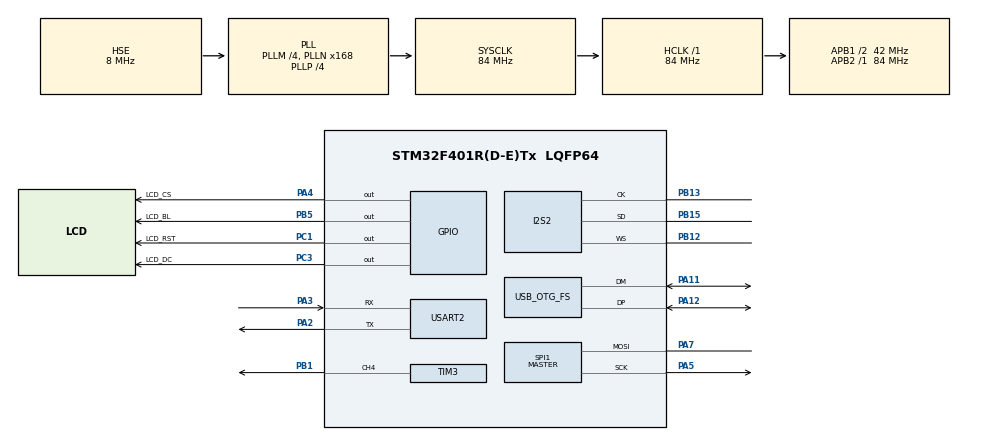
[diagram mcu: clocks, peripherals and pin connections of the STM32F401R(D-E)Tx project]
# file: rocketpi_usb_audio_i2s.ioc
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Dma.Request0=SPI1_TX
Dma.Request1=SPI2_TX
Dma.Request2=TIM3_CH4/UP
Dma.SPI1_TX.0.Direction=DMA_MEMORY_TO_PERIPH
Dma.SPI1_TX.0.FIFOMode=DMA_FIFOMODE_DISABLE
Dma.SPI1_TX.0.Instance=DMA2_Stream3
Dma.SPI1_TX.0.MemDataAlignment=DMA_MDATAALIGN_BYTE
Dma.SPI1_TX.0.MemInc=DMA_MINC_ENABLE
Dma.SPI1_TX.0.Mode=DMA_NORMAL
Dma.SPI1_TX.0.PeriphDataAlignment=DMA_PDATAALIGN_BYTE
Dma.SPI1_TX.0.PeriphInc=DMA_PINC_DISABLE
Dma.SPI1_TX.0.Priority=DMA_PRIORITY_LOW
Dma.SPI2_TX.1.Direction=DMA_MEMORY_TO_PERIPH
Dma.SPI2_TX.1.FIFOMode=DMA_FIFOMODE_DISABLE
Dma.SPI2_TX.1.Instance=DMA1_Stream4
Dma.SPI2_TX.1.MemDataAlignment=DMA_MDATAALIGN_HALFWORD
Dma.SPI2_TX.1.MemInc=DMA_MINC_ENABLE
Dma.SPI2_TX.1.Mode=DMA_CIRCULAR
Dma.SPI2_TX.1.PeriphDataAlignment=DMA_PDATAALIGN_HALFWORD
Dma.SPI2_TX.1.PeriphInc=DMA_PINC_DISABLE
Dma.SPI2_TX.1.Priority=DMA_PRIORITY_VERY_HIGH
Dma.TIM3_CH4/UP.2.Direction=DMA_MEMORY_TO_PERIPH
Dma.TIM3_CH4/UP.2.FIFOMode=DMA_FIFOMODE_DISABLE
Dma.TIM3_CH4/UP.2.Instance=DMA1_Stream2
Dma.TIM3_CH4/UP.2.MemDataAlignment=DMA_MDATAALIGN_HALFWORD
Dma.TIM3_CH4/UP.2.MemInc=DMA_MINC_ENABLE
Dma.TIM3_CH4/UP.2.Mode=DMA_NORMAL
Dma.TIM3_CH4/UP.2.PeriphDataAlignment=DMA_PDATAALIGN_HALFWORD
Dma.TIM3_CH4/UP.2.PeriphInc=DMA_PINC_DISABLE
Dma.TIM3_CH4/UP.2.Priority=DMA_PRIORITY_VERY_HIGH
I2S2.AudioFreq=I2S_AUDIOFREQ_16K
I2S2.DataFormat=I2S_DATAFORMAT_16B_EXTENDED
I2S2.ErrorAudioFreq=0.0 %
I2S2.FullDuplexMode=I2S_FULLDUPLEXMODE_DISABLE
I2S2.Instance=SPI$Index
I2S2.Mode=I2S_MODE_MASTER_TX
I2S2.RealAudioFreq=16.0 KHz
I2S2.VirtualMode=I2S_MODE_MASTER
Mcu.Family=STM32F4
Mcu.Name=STM32F401R(D-E)Tx
Mcu.Package=LQFP64
NVIC.DMA1_Stream2_IRQn=true\:0\:0\:false\:false\:true\:false\:true\:true
NVIC.DMA1_Stream4_IRQn=true\:0\:0\:false\:false\:true\:false\:true\:true
NVIC.DMA2_Stream3_IRQn=true\:0\:0\:false\:false\:true\:false\:true\:true
NVIC.OTG_FS_IRQn=true\:0\:0\:false\:false\:true\:true\:true\:true
NVIC.PriorityGroup=NVIC_PRIORITYGROUP_4
NVIC.SPI1_IRQn=true\:0\:0\:false\:false\:true\:true\:true\:true
NVIC.SPI2_IRQn=true\:0\:0\:false\:false\:true\:true\:true\:true
PA11.Mode=Device_Only
PA11.Signal=USB_OTG_FS_DM
PA12.Mode=Device_Only
PA12.Signal=USB_OTG_FS_DP
PA13.Mode=Serial_Wire
PA13.Signal=SYS_JTMS-SWDIO
PA14.Mode=Serial_Wire
PA14.Signal=SYS_JTCK-SWCLK
PA2.Mode=Asynchronous
PA2.Signal=USART2_TX
PA3.Mode=Asynchronous
PA3.Signal=USART2_RX
PA4.GPIO_Label=LCD_CS
PA4.Signal=GPIO_Output
PA5.Mode=Simplex_Bidirectional_Master
PA5.Signal=SPI1_SCK
PA7.Mode=Simplex_Bidirectional_Master
PA7.Signal=SPI1_MOSI
PB1.Signal=S_TIM3_CH4
PB12.GPIO_Speed=GPIO_SPEED_FREQ_VERY_HIGH
PB12.Mode=Half_Duplex_Master
PB12.Signal=I2S2_WS
PB13.GPIO_Speed=GPIO_SPEED_FREQ_VERY_HIGH
PB13.Mode=Half_Duplex_Master
PB13.Signal=I2S2_CK
PB15.GPIO_Speed=GPIO_SPEED_FREQ_VERY_HIGH
PB15.Mode=Half_Duplex_Master
PB15.Signal=I2S2_SD
PB5.GPIO_Label=LCD_BL
PB5.Signal=GPIO_Output
PC1.GPIO_Label=LCD_RST
PC1.Signal=GPIO_Output
PC3.GPIO_Label=LCD_DC
PC3.Signal=GPIO_Output
PH0\ -\ OSC_IN.Mode=HSE-External-Oscillator
PH0\ -\ OSC_IN.Signal=RCC_OSC_IN
PH1\ -\ OSC_OUT.Mode=HSE-External-Oscillator
PH1\ -\ OSC_OUT.Signal=RCC_OSC_OUT
ProjectManager.HeapSize=0x1000
ProjectManager.StackSize=0x1000
ProjectManager.TargetToolchain=MDK-ARM V5.27
RCC.48MHZClocksFreq_Value=48000000
RCC.AHBFreq_Value=84000000
RCC.APB1CLKDivider=RCC_HCLK_DIV2
RCC.APB1Freq_Value=42000000
RCC.APB1TimFreq_Value=84000000
RCC.APB2Freq_Value=84000000
RCC.APB2TimFreq_Value=84000000
RCC.CortexFreq_Value=84000000
RCC.HCLKFreq_Value=84000000
RCC.HSE_VALUE=8000000
RCC.HSI_VALUE=16000000
RCC.LSE_VALUE=32768
RCC.PLLI2SN=128
RCC.PLLI2SR=5
RCC.PLLM=4
RCC.PLLN=168
RCC.PLLP=RCC_PLLP_DIV4
RCC.PLLQ=7
RCC.SYSCLKFreq_VALUE=84000000
RCC.SYSCLKSource=RCC_SYSCLKSOURCE_PLLCLK
RCC.VCOOutputFreq_Value=336000000
SH.S_TIM3_CH4.0=TIM3_CH4,PWM Generation4 CH4
SPI1.Direction=SPI_DIRECTION_1LINE
SPI1.Mode=SPI_MODE_MASTER
SPI1.VirtualType=VM_MASTER
TIM3.Channel-PWM\ Generation4\ CH4=TIM_CHANNEL_4
TIM3.Period=105-1
USART2.VirtualMode=VM_ASYNC
USB_DEVICE.CLASS_NAME_FS=AUDIO
USB_DEVICE.USBD_AUDIO_FREQ-AUDIO_FS=16000
USB_DEVICE.VirtualMode-AUDIO_FS=Audio
USB_DEVICE.VirtualModeFS=Audio_FS
USB_OTG_FS.VirtualMode=Device_Only
VP_USB_DEVICE_VS_USB_DEVICE_AUDIO_FS.Mode=AUDIO_FS
board=custom

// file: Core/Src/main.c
/* USER CODE BEGIN Header */
/**
  ******************************************************************************
  * @file           : main.c
  * @brief          : Main program body
  ******************************************************************************
  * @attention
  *
  * Copyright (c) 2025 STMicroelectronics.
  * All rights reserved.
  *
  * This software is licensed under terms that can be found in the LICENSE file
  * in the root directory of this software component.
  * If no LICENSE file comes with this software, it is provided AS-IS.
  *
  ******************************************************************************
  */
/* USER CODE END Header */
#include "main.h"
#include "dma.h"
#include "i2s.h"
#include "spi.h"
#include "tim.h"
#include "usart.h"
#include "usb_device.h"
#include "gpio.h"

/* USER CODE BEGIN Includes */
#include "st7789.h"
#include "spectrum.h"
#include "usbd_audio.h"
#include "driver_ws2812b.h"
/* USER CODE END Includes */

/* USER CODE BEGIN PD */
#define WS2812_LED_COUNT           30U
#define WS2812_UPDATE_INTERVAL_MS  20U

#define WS2812_VIS_MODE_SPECTRUM_BAR      0U
#define WS2812_VIS_MODE_ENERGY_SWEEP      1U
#define WS2812_VIS_MODE_RAINBOW_GLOW      2U

#ifndef WS2812_VISUAL_MODE
#define WS2812_VISUAL_MODE WS2812_VIS_MODE_SPECTRUM_BAR
#endif
/* USER CODE END PD */

/* USER CODE BEGIN PV */
static uint8_t ws2812_ready = 0U;
static uint32_t ws2812_last_update_ms = 0U;
/* USER CODE END PV */

void SystemClock_Config(void);
/* USER CODE BEGIN PFP */
static void Visualizer_UpdateStrip(void);
static void Visualizer_ModeSpectrumBar(uint32_t leds, uint32_t bins, uint16_t max_height);
static void Visualizer_ModeEnergySweep(uint32_t leds, uint32_t bins, uint16_t max_height);
static void Visualizer_ModeRainbowGlow(uint32_t leds, uint32_t bins, uint16_t max_height);
static void Visualizer_Color565ToRGB(uint16_t color565, uint8_t *r, uint8_t *g, uint8_t *b);
static void Visualizer_ColorWheel(uint32_t pos, uint32_t total, uint8_t *r, uint8_t *g, uint8_t *b);
/* USER CODE END PFP */

int main(void)
{

  /* MCU Configuration--------------------------------------------------------*/

  /* Reset of all peripherals, Initializes the Flash interface and the Systick. */
  HAL_Init();

  /* Configure the system clock */
  SystemClock_Config();

  /* Initialize all configured peripherals */
  MX_GPIO_Init();
  MX_DMA_Init();
  MX_I2S2_Init();
  MX_USB_DEVICE_Init();
  MX_SPI1_Init();
  MX_USART2_UART_Init();
  MX_TIM3_Init();
  /* USER CODE BEGIN 2 */
  ST7789_Init();
  Spectrum_Init(USBD_AUDIO_FREQ);
  if (ws2812b_init(WS2812_LED_COUNT))
  {
    ws2812_ready = 1U;
    ws2812b_fill(0U, 0U, 0U);
    (void)ws2812b_refresh();
  }
  /* USER CODE END 2 */

  /* Infinite loop */
  while (1)
  {

    /* USER CODE BEGIN 3 */
    Spectrum_DrawIfDue();
    Visualizer_UpdateStrip();
  }
  /* USER CODE END 3 */
}

void SystemClock_Config(void)
{
  RCC_OscInitTypeDef RCC_OscInitStruct = {0};
  RCC_ClkInitTypeDef RCC_ClkInitStruct = {0};

  /** Configure the main internal regulator output voltage
  */
  __HAL_RCC_PWR_CLK_ENABLE();
  __HAL_PWR_VOLTAGESCALING_CONFIG(PWR_REGULATOR_VOLTAGE_SCALE2);

  /** Initializes the RCC Oscillators according to the specified parameters
  * in the RCC_OscInitTypeDef structure.
  */
  RCC_OscInitStruct.OscillatorType = RCC_OSCILLATORTYPE_HSE;
  RCC_OscInitStruct.HSEState = RCC_HSE_ON;
  RCC_OscInitStruct.PLL.PLLState = RCC_PLL_ON;
  RCC_OscInitStruct.PLL.PLLSource = RCC_PLLSOURCE_HSE;
  RCC_OscInitStruct.PLL.PLLM = 4;
  RCC_OscInitStruct.PLL.PLLN = 168;
  RCC_OscInitStruct.PLL.PLLP = RCC_PLLP_DIV4;
  RCC_OscInitStruct.PLL.PLLQ = 7;
  if (HAL_RCC_OscConfig(&RCC_OscInitStruct) != HAL_OK)
  {
    Error_Handler();
  }

  /** Initializes the CPU, AHB and APB buses clocks
  */
  RCC_ClkInitStruct.ClockType = RCC_CLOCKTYPE_HCLK|RCC_CLOCKTYPE_SYSCLK
                              |RCC_CLOCKTYPE_PCLK1|RCC_CLOCKTYPE_PCLK2;
  RCC_ClkInitStruct.SYSCLKSource = RCC_SYSCLKSOURCE_PLLCLK;
  RCC_ClkInitStruct.AHBCLKDivider = RCC_SYSCLK_DIV1;
  RCC_ClkInitStruct.APB1CLKDivider = RCC_HCLK_DIV2;
  RCC_ClkInitStruct.APB2CLKDivider = RCC_HCLK_DIV1;

  if (HAL_RCC_ClockConfig(&RCC_ClkInitStruct, FLASH_LATENCY_2) != HAL_OK)
  {
    Error_Handler();
  }
}

/* USER CODE BEGIN 4 */
static void Visualizer_UpdateStrip(void)
{
  if ((ws2812_ready == 0U) || ws2812b_is_busy())
  {
    return;
  }

  uint32_t now = HAL_GetTick();
  if ((now - ws2812_last_update_ms) < WS2812_UPDATE_INTERVAL_MS)
  {
    return;
  }
  ws2812_last_update_ms = now;

  uint32_t leds = ws2812b_get_led_count();
  uint32_t bins = Spectrum_GetBinCount();
  if ((leds == 0U) || (bins == 0U))
  {
    return;
  }

  uint16_t max_height = Spectrum_GetMaxHeight();
  if (max_height == 0U)
  {
    max_height = 1U;
  }

  switch (WS2812_VISUAL_MODE)
  {
    case WS2812_VIS_MODE_SPECTRUM_BAR:
      Visualizer_ModeSpectrumBar(leds, bins, max_height);
      break;
    case WS2812_VIS_MODE_ENERGY_SWEEP:
      Visualizer_ModeEnergySweep(leds, bins, max_height);
      break;
    case WS2812_VIS_MODE_RAINBOW_GLOW:
      Visualizer_ModeRainbowGlow(leds, bins, max_height);
      break;
    default:
      Visualizer_ModeSpectrumBar(leds, bins, max_height);
      break;
  }

  (void)ws2812b_refresh();
}

static void Visualizer_ModeSpectrumBar(uint32_t leds, uint32_t bins, uint16_t max_height)
{
  for (uint32_t led = 0U; led < leds; ++led)
  {
    uint32_t bin = (led * bins) / leds;
    uint16_t level = Spectrum_GetLevel(bin);
    uint16_t color565 = Spectrum_GetBinColor(bin);

    uint8_t r, g, b;
    Visualizer_Color565ToRGB(color565, &r, &g, &b);

    uint32_t scale = ((uint32_t)level * 255U) / max_height;
    r = (uint8_t)((r * scale) / 255U);
    g = (uint8_t)((g * scale) / 255U);
    b = (uint8_t)((b * scale) / 255U);

    (void)ws2812b_set_pixel((uint16_t)led, r, g, b);
  }
}

static void Visualizer_ModeEnergySweep(uint32_t leds, uint32_t bins, uint16_t max_height)
{
  uint32_t sum = 0U;
  for (uint32_t bin = 0U; bin < bins; ++bin)
  {
    sum += Spectrum_GetLevel(bin);
  }
  uint32_t avg = (bins > 0U) ? (sum / bins) : 0U;
  uint32_t active_leds = (avg * leds) / max_height;
  if (active_leds > leds)
  {
    active_leds = leds;
  }

  for (uint32_t led = 0U; led < leds; ++led)
  {
    if (led < active_leds)
    {
      uint32_t bin = (led * bins) / leds;
      uint16_t color565 = Spectrum_GetBinColor(bin);
      uint8_t r, g, b;
      Visualizer_Color565ToRGB(color565, &r, &g, &b);
      (void)ws2812b_set_pixel((uint16_t)led, r, g, b);
    }
    else
    {
      (void)ws2812b_set_pixel((uint16_t)led, 0U, 0U, 0U);
    }
  }
}

static void Visualizer_ModeRainbowGlow(uint32_t leds, uint32_t bins, uint16_t max_height)
{
  if (leds == 0U)
  {
    return;
  }

  for (uint32_t led = 0U; led < leds; ++led)
  {
    uint8_t r, g, b;
    Visualizer_ColorWheel(led, leds, &r, &g, &b);

    uint32_t bin = (led * bins) / leds;
    uint16_t level = Spectrum_GetLevel(bin);
    uint32_t scale = ((uint32_t)level * 255U) / max_height;
    r = (uint8_t)((r * scale) / 255U);
    g = (uint8_t)((g * scale) / 255U);
    b = (uint8_t)((b * scale) / 255U);

    (void)ws2812b_set_pixel((uint16_t)led, r, g, b);
  }
}

static void Visualizer_Color565ToRGB(uint16_t color565, uint8_t *r, uint8_t *g, uint8_t *b)
{
  if (r != NULL)
  {
    *r = (uint8_t)(((color565 >> 11) & 0x1FU) << 3);
  }
  if (g != NULL)
  {
    *g = (uint8_t)(((color565 >> 5) & 0x3FU) << 2);
  }
  if (b != NULL)
  {
    *b = (uint8_t)((color565 & 0x1FU) << 3);
  }
}

static void Visualizer_ColorWheel(uint32_t pos, uint32_t total, uint8_t *r, uint8_t *g, uint8_t *b)
{
  if ((total == 0U) || (r == NULL) || (g == NULL) || (b == NULL))
  {
    return;
  }

  uint32_t angle = (pos * 1536U) / total;
  angle %= 1536U;
  uint32_t region = angle / 256U;
  uint32_t offset = angle % 256U;

  switch (region)
  {
    case 0:
      *r = 255U;
      *g = (uint8_t)offset;
      *b = 0U;
      break;
    case 1:
      *r = (uint8_t)(255U - offset);
      *g = 255U;
      *b = 0U;
      break;
    case 2:
      *r = 0U;
      *g = 255U;
      *b = (uint8_t)offset;
      break;
    case 3:
      *r = 0U;
      *g = (uint8_t)(255U - offset);
      *b = 255U;
      break;
    case 4:
      *r = (uint8_t)offset;
      *g = 0U;
      *b = 255U;
      break;
    default:
      *r = 255U;
      *g = 0U;
      *b = (uint8_t)(255U - offset);
      break;
  }
}
/* USER CODE END 4 */

void Error_Handler(void)
{
  __disable_irq();
  while (1)
  {
  }
}
